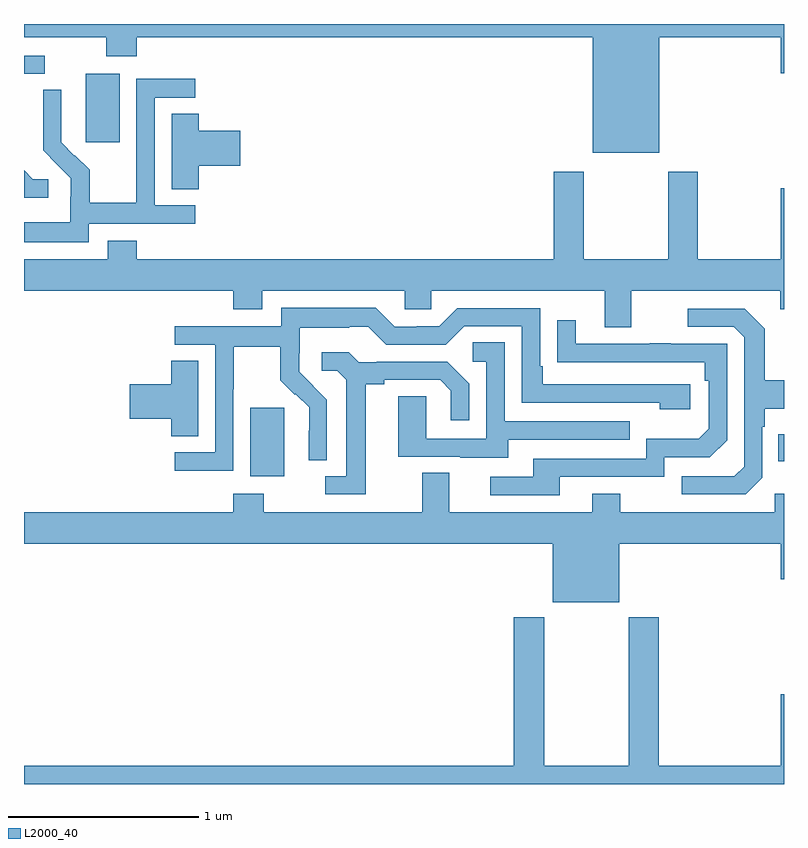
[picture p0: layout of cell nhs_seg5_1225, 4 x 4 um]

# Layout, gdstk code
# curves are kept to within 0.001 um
import gdstk
lib = gdstk.Library(unit=1e-6, precision=1e-09)
def R(c, l, rs):  # rectangles x0, y0, x1, y1
    for r in rs: c.add(gdstk.rectangle(r[:2], r[2:], *l))
def P(c, l, *ps):  # polygons
    for p in ps: c.add(gdstk.Polygon(p, *l))
L2000_40 = (2000, 40)

nhs_seg5_1225 = lib.new_cell('nhs_seg5_1225')
R(nhs_seg5_1225, L2000_40, [(186.191,886.418,186.37,886.779), (188.971,886.499,189,886.639), (185.324,888.177,185.503,888.538), (185,888.537,185.11,888.633)])
P(nhs_seg5_1225, L2000_40, [(188.344,888.728),(188.984,888.728),(188.984,888.54),(189,888.54),(189,888.799),(185,888.799),(185,888.728),(185.434,888.728),(185.434,888.629),(185.594,888.629),(185.594,888.728),(187.994,888.728),(187.994,888.122),(188.344,888.122)],
  [(185.34,887.748),(185.902,887.748),(185.902,887.844),(185.688,887.844),(185.688,888.411),(185.902,888.411),(185.902,888.51),(185.592,888.51),(185.592,888.08),(185.59,888.08),(185.59,887.857),(185.345,887.857),(185.345,888.031),(185.268,888.108),(185.265,888.105),(185.195,888.176),(185.196,888.452),(185.1,888.452),(185.1,888.134),(185.246,887.986),(185.246,887.889),(185.244,887.889),(185.244,887.755),(185,887.755),(185,887.651),(185.34,887.651)],
  [(185.921,888.053),(186.139,888.053),(186.139,888.236),(185.921,888.236),(185.921,888.326),(185.777,888.326),(185.777,887.929),(185.921,887.929)],
  [(185.128,887.982),(185.046,887.982),(185,888.028),(185,887.885),(185.128,887.885)],
  [(188.197,887.396),(188.981,887.396),(188.981,887.297),(189,887.297),(189,887.935),(188.984,887.935),(188.984,887.56),(188.547,887.56),(188.547,888.022),(188.392,888.022),(188.392,887.56),(187.947,887.56),(187.947,888.022),(187.787,888.022),(187.787,887.56),(185.594,887.56),(185.594,887.659),(185.441,887.659),(185.441,887.56),(185,887.56),(185,887.396),(186.101,887.396),(186.101,887.297),(186.253,887.297),(186.253,887.396),(187.005,887.396),(187.005,887.298),(187.143,887.298),(187.143,887.396),(188.057,887.396),(188.057,887.202),(188.197,887.202)],
  [(186.102,886.876),(186.105,886.876),(186.105,887.1),(186.349,887.1),(186.349,886.925),(186.426,886.848),(186.429,886.851),(186.5,886.781),(186.5,886.658),(186.498,886.658),(186.498,886.504),(186.594,886.504),(186.594,886.822),(186.448,886.97),(186.448,887.067),(186.45,887.067),(186.45,887.201),(186.713,887.201),(186.713,887.205),(186.813,887.205),(186.906,887.112),(187.221,887.112),(187.317,887.208),(187.62,887.208),(187.62,886.806),(188.345,886.806),(188.345,886.772),(188.506,886.772),(188.506,886.902),(187.729,886.902),(187.729,886.999),(187.716,886.999),(187.716,887.304),(187.281,887.304),(187.185,887.208),(187.067,887.208),(187.067,887.205),(186.951,887.205),(186.851,887.305),(186.354,887.305),(186.354,887.208),(185.793,887.208),(185.793,887.112),(186.006,887.112),(186.006,886.545),(185.793,886.545),(185.793,886.447),(186.102,886.447)],
  [(188.886,886.41),(188.886,886.679),(188.899,886.679),(188.899,886.775),(189,886.775),(189,886.923),(188.899,886.923),(188.899,887.195),(188.793,887.301),(188.493,887.301),(188.493,887.205),(188.736,887.205),(188.79,887.151),(188.79,886.47),(188.739,886.419),(188.463,886.419),(188.463,886.323),(188.799,886.323)],
  [(187.819,886.416),(188.37,886.416),(188.37,886.518),(188.61,886.518),(188.7,886.608),(188.7,887.115),(188.405,887.115),(188.405,887.12),(188.293,887.12),(188.293,887.115),(187.903,887.115),(187.903,887.239),(187.807,887.239),(187.807,887.02),(188.584,887.019),(188.584,886.922),(188.604,886.922),(188.604,886.668),(188.551,886.615),(188.274,886.615),(188.274,886.512),(187.679,886.512),(187.679,886.416),(187.455,886.416),(187.455,886.32),(187.819,886.32)],
  [(187.549,886.611),(188.189,886.611),(188.189,886.707),(187.53,886.707),(187.53,887.123),(187.362,887.123),(187.362,887.022),(187.434,887.022),(187.434,886.617),(187.116,886.617),(187.116,886.841),(186.971,886.841),(186.971,886.521),(187.295,886.521),(187.295,886.517),(187.549,886.517)],
  [(186.799,886.904),(186.895,886.904),(186.895,886.926),(187.19,886.926),(187.247,886.869),(187.247,886.713),(187.344,886.713),(187.344,886.906),(187.228,887.022),(186.856,887.022),(186.856,887.019),(186.762,887.019),(186.71,887.071),(186.567,887.071),(186.567,886.974),(186.648,886.974),(186.695,886.927),(186.695,886.419),(186.585,886.419),(186.585,886.323),(186.799,886.323)],
  [(185.917,887.027),(185.774,887.027),(185.774,886.904),(185.556,886.904),(185.556,886.721),(185.774,886.721),(185.774,886.63),(185.917,886.63)],
  [(188.134,886.064),(188.984,886.064),(188.984,885.876),(189,885.876),(189,886.327),(188.952,886.327),(188.952,886.228),(188.139,886.228),(188.139,886.327),(187.991,886.327),(187.991,886.228),(187.237,886.228),(187.237,886.436),(187.097,886.436),(187.097,886.228),(186.261,886.228),(186.261,886.327),(186.101,886.327),(186.101,886.228),(185,886.228),(185,886.064),(187.784,886.064),(187.784,885.755),(188.134,885.755)],
  [(189,885.271),(188.984,885.271),(188.984,884.896),(188.342,884.896),(188.342,885.676),(188.182,885.676),(188.182,884.896),(187.737,884.896),(187.737,885.676),(187.577,885.676),(187.577,884.896),(185,884.896),(185,884.799),(189,884.799)])

lib.write_gds('nhs_seg5_1225.gds')
